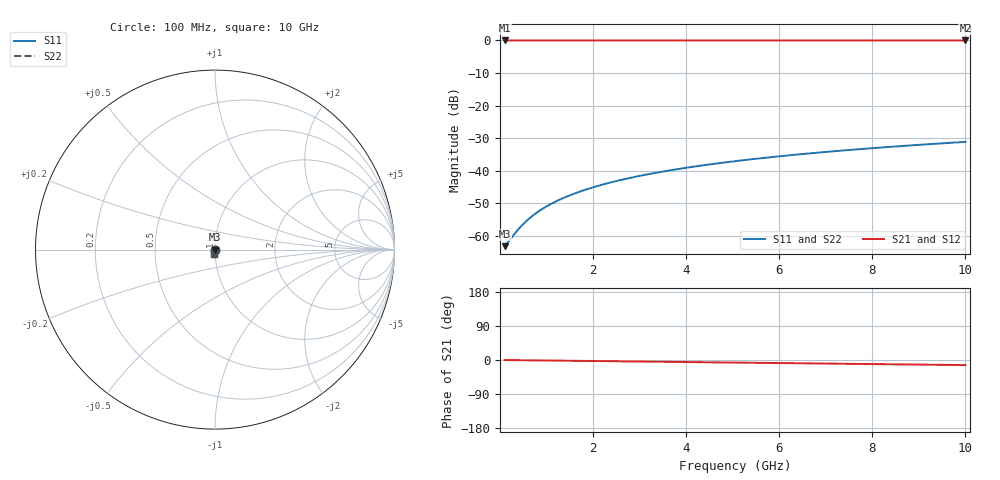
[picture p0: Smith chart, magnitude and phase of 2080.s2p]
# Hz S RI R 50.00
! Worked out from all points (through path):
!   100 points, 100 MHz to 10 GHz, reference 50 ohm
!   highest |S21| = -0.01 dB at 100 MHz (marker M1); lowest = 0.0 dB at 10 GHz (marker M2)
!   group delay of S21, straight-line fit = 3.74 ps
!   lowest |S11| = -63.1 dB at 100 MHz (marker M3), VSWR 1.00, Z = 50.1 - j0.0279 ohm
!   |S11| at or under -10 dB: start of sweep to end of sweep
!   |S22| runs from -63.1 to -31.1 dB; largest |S21 - S12| = 0
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1e8  0.000643 -0.000279  0.9993 -0.00234  0.9993 -0.00234  0.000643 -0.000279
2e8  0.000644 -0.000558  0.9993 -0.00467  0.9993 -0.00467  0.000644 -0.000558
3e8  0.000643 -0.000837  0.9993 -0.00701  0.9993 -0.00701  0.000643 -0.000837
4e8  0.00064 -0.00112  0.9993 -0.00934  0.9993 -0.00934  0.00064 -0.00112
5e8  0.000635 -0.0014  0.9993 -0.0117  0.9993 -0.0117  0.000635 -0.0014
6e8  0.000629 -0.00167  0.9992 -0.014  0.9992 -0.014  0.000629 -0.00167
7e8  0.000621 -0.00195  0.9992 -0.0163  0.9992 -0.0163  0.000621 -0.00195
8e8  0.000611 -0.00223  0.9991 -0.0187  0.9991 -0.0187  0.000611 -0.00223
1e9  0.000589 -0.00279  0.999 -0.0234  0.999 -0.0234  0.000589 -0.00279
1.2e9  0.00056 -0.00335  0.9989 -0.028  0.9989 -0.028  0.00056 -0.00335
1.5e9  0.000508 -0.00419  0.9987 -0.035  0.9987 -0.035  0.000508 -0.00419
1.8e9  0.000443 -0.00502  0.9984 -0.042  0.9984 -0.042  0.000443 -0.00502
2.1e9  0.000366 -0.00586  0.9981 -0.049  0.9981 -0.049  0.000366 -0.00586
2.5e9  0.000245 -0.00697  0.9976 -0.0584  0.9976 -0.0584  0.000245 -0.00697
2.9e9  0.000103 -0.00809  0.9969 -0.0677  0.9969 -0.0677  0.000103 -0.00809
3.4e9  -0.000105 -0.00948  0.9961 -0.0794  0.9961 -0.0794  -0.000105 -0.00948
4.2e9  -0.000505 -0.0117  0.9944 -0.0981  0.9944 -0.0981  -0.000505 -0.0117
5.1e9  -0.00105 -0.0142  0.992 -0.119  0.992 -0.119  -0.00105 -0.0142
5.9e9  -0.00163 -0.0164  0.9895 -0.1377  0.9895 -0.1377  -0.00163 -0.0164
6.7e9  -0.00229 -0.0185  0.9867 -0.1562  0.9867 -0.1562  -0.00229 -0.0185
8.4e9  -0.00397 -0.0231  0.9795 -0.1956  0.9795 -0.1956  -0.00397 -0.0231
1e10  -0.00587 -0.0272  0.9713 -0.2325  0.9713 -0.2325  -0.00587 -0.0272
